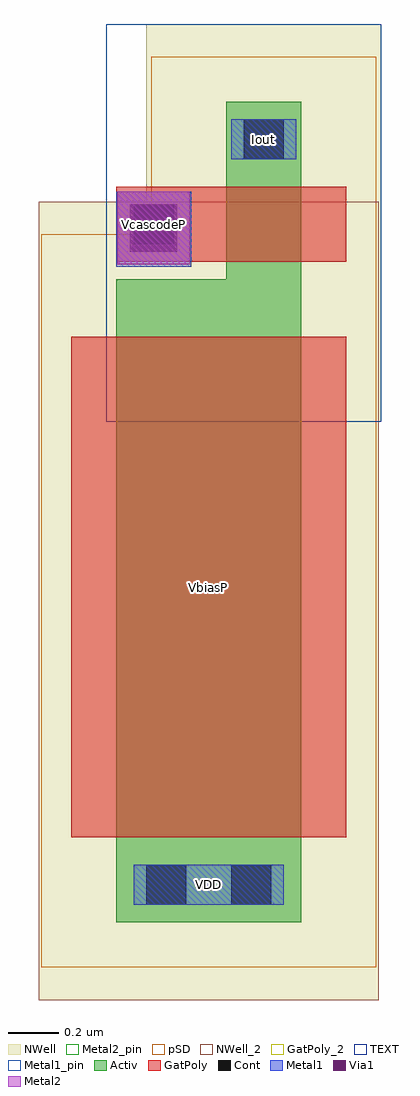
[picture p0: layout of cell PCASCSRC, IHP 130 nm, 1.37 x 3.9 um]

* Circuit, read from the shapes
.subckt PCASCSRC Iout NWELL VDD VbiasP VcascodeP
XM1 n1 VbiasP VDD NWELL sg13_lv_pmos w=0.74u l=2u
XM2 Iout VcascodeP n1 NWELL sg13_lv_pmos w=0.3u l=0.3u
.ends

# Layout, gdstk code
import gdstk
lib = gdstk.Library(unit=1e-6, precision=1e-09)
def R(c, l, rs):  # rectangles x0, y0, x1, y1
    for r in rs: c.add(gdstk.rectangle(r[:2], r[2:], *l))
Activ = (1, 0)
GatPoly = (5, 0)
GatPoly_2 = (5, 2)
Cont = (6, 0)
Metal1 = (8, 0)
Metal1_pin = (8, 2)
Metal2 = (10, 0)
Metal2_pin = (10, 2)
pSD = (14, 0)
Via1 = (19, 0)
NWell = (31, 0)
NWell_2 = (31, 2)
TEXT = (63, 0)

switchedpmoscascode = lib.new_cell('SwitchedPMOSCascode')
R(switchedpmoscascode, Activ, [(0.29,-0.38,0.59,0.49)])
R(switchedpmoscascode, GatPoly, [(-0.15,-0.15,0.77,0.15)])
R(switchedpmoscascode, Cont, [(-0.08,-0.08,0.08,0.08), (0.36,0.26,0.52,0.42)])
R(switchedpmoscascode, Metal1, [(-0.08,-0.13,0.08,0.13), (0.31,0.26,0.57,0.42)])
R(switchedpmoscascode, pSD, [(-0.01,-0.56,0.89,0.67)])
R(switchedpmoscascode, NWell, [(-0.03,-0.79,0.91,0.8)])
R(switchedpmoscascode, TEXT, [(-0.19,-0.79,0.91,0.8)])

via_stack_1 = lib.new_cell('via_stack$1')
R(via_stack_1, Metal1, [(-0.145,-0.145,0.145,0.145)])
R(via_stack_1, Metal2, [(-0.145,-0.145,0.145,0.145)])
R(via_stack_1, Via1, [(-0.095,-0.095,0.095,0.095)])

pcascsrc = lib.new_cell('PCASCSRC')
R(pcascsrc, Activ, [(-0.15,-2.79,0.59,-0.22)])
R(pcascsrc, GatPoly, [(-0.33,-2.45,0.77,-0.45)])
R(pcascsrc, GatPoly_2, [(-0.33,-2.45,0.77,-0.45)])
R(pcascsrc, Cont, [(-0.03,-2.72,0.13,-2.56), (0.31,-2.72,0.47,-2.56)])
R(pcascsrc, Metal1, [(-0.08,-2.72,0.52,-2.56), (-0.15,-0.17,0.15,0.13)])
R(pcascsrc, Metal1_pin, [(-0.08,-2.72,0.52,-2.56), (0.31,0.26,0.57,0.42)])
R(pcascsrc, Metal2_pin, [(-0.145,-0.16,0.145,0.13)])
R(pcascsrc, pSD, [(-0.45,-2.97,0.89,-0.04)])
R(pcascsrc, NWell, [(-0.46,-3.1,0.9,0.09)])
R(pcascsrc, NWell_2, [(-0.46,-3.1,0.9,0.09)])
pcascsrc.add(gdstk.Reference(switchedpmoscascode, (0,0)))
pcascsrc.add(gdstk.Reference(via_stack_1, (0,-0.015)))
pcascsrc.add(gdstk.Label('VDD', (0.22,-2.64), layer=8, texttype=1))
pcascsrc.add(gdstk.Label('VcascodeP', (0,0), layer=8, texttype=1))
pcascsrc.add(gdstk.Label('Iout', (0.44,0.34), layer=8, texttype=1))
pcascsrc.add(gdstk.Label('VbiasP', (0.22,-1.45), layer=5, texttype=1))
pcascsrc.add(gdstk.Label('NWELL', (0.22,-1.505), layer=31, texttype=1))
pcascsrc.add(gdstk.Label('VcascodeP', (0,-0.015), layer=10, texttype=2))

lib.write_gds('PCASCSRC.gds')
